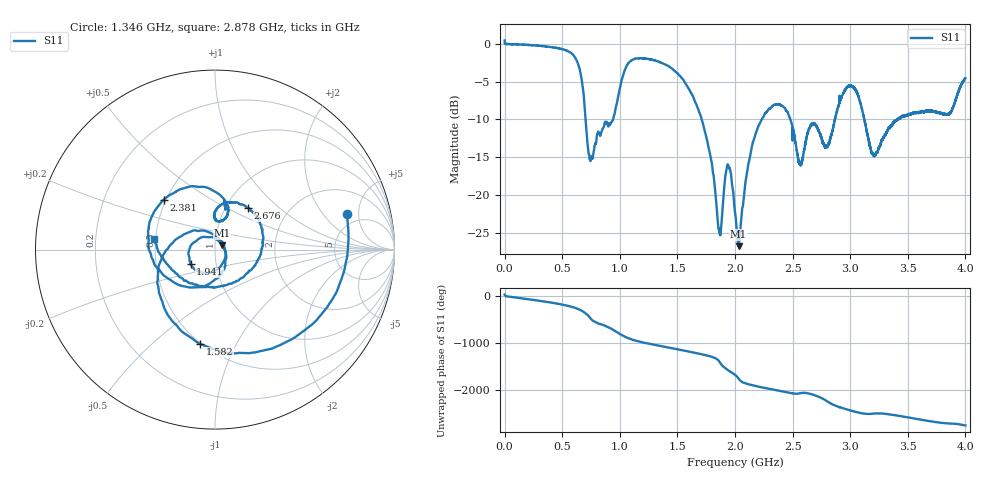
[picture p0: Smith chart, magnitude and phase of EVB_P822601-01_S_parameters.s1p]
# Hz S DB R 50
! CMT, PLANAR-804/1, 14065176, 3.47/03
! Date: 3/6/2023 2:05:09 PM
! Data: Format (Calibration Info)
! Freq  S11: dB/Ang (F1)
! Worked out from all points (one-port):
!   8001 points, 100 kHz to 4 GHz, reference 50 ohm
!   lowest |S11| = -26.8 dB at 2.032 GHz (marker M1), VSWR 1.10, Z = 54 + j2.63 ohm
!   |S11| at or under -10 dB: 1.711 GHz to 2.232 GHz (520.5 MHz wide, 26.4 % of centre); 2.481 GHz to 2.866 GHz (385.1 MHz wide, 14.4 % of centre); 3.123 GHz to 3.407 GHz (284.2 MHz wide, 8.71 % of centre)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
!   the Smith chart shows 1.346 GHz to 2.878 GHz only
!   S11 on the Smith chart (normalised r, x): 1.346 GHz: 3.87, +3.57; 1.582 GHz: 0.50, -0.73; 1.941 GHz: 0.75, -0.12; 2.381 GHz: 0.49, +0.32; 2.676 GHz: 1.27, +0.64; 2.878 GHz: 0.49, +0.06
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100000  0.45 31.8
7.959801e7  -0.05 -26.1
2.510937e8  -0.18 -83.7
5.000875e8  -0.70 177.2
6.100848e8  -1.76 108.9
6.760831e8  -5.51 35.9
7.780806e8  -13.70 176.5
8.885778e8  -10.40 64.0
1.000075e9  -5.96 -90.8
1.076073e9  -2.54 175.7
1.173071e9  -1.92 103.1
1.346066e9  -2.40 15.0
1.500062e9  -3.88 -58.0
1.58206e9  -5.48 -99.0
1.864053e9  -24.80 37.4
1.941051e9  -16.00 -149.4
2.00005e9  -22.33 117.0
2.031549e9  -26.76 32.0
2.191545e9  -11.36 -130.9
2.38104e9  -7.98 135.6
2.500038e9  -12.80 75.2
2.675533e9  -10.59 51.3
2.79403e9  -13.66 -82.6
2.878028e9  -9.29 170.5
3.000025e9  -5.52 74.2
3.20252e9  -14.78 5.4
3.500012e9  -9.43 -74.7
4e9  -4.56 112.3
